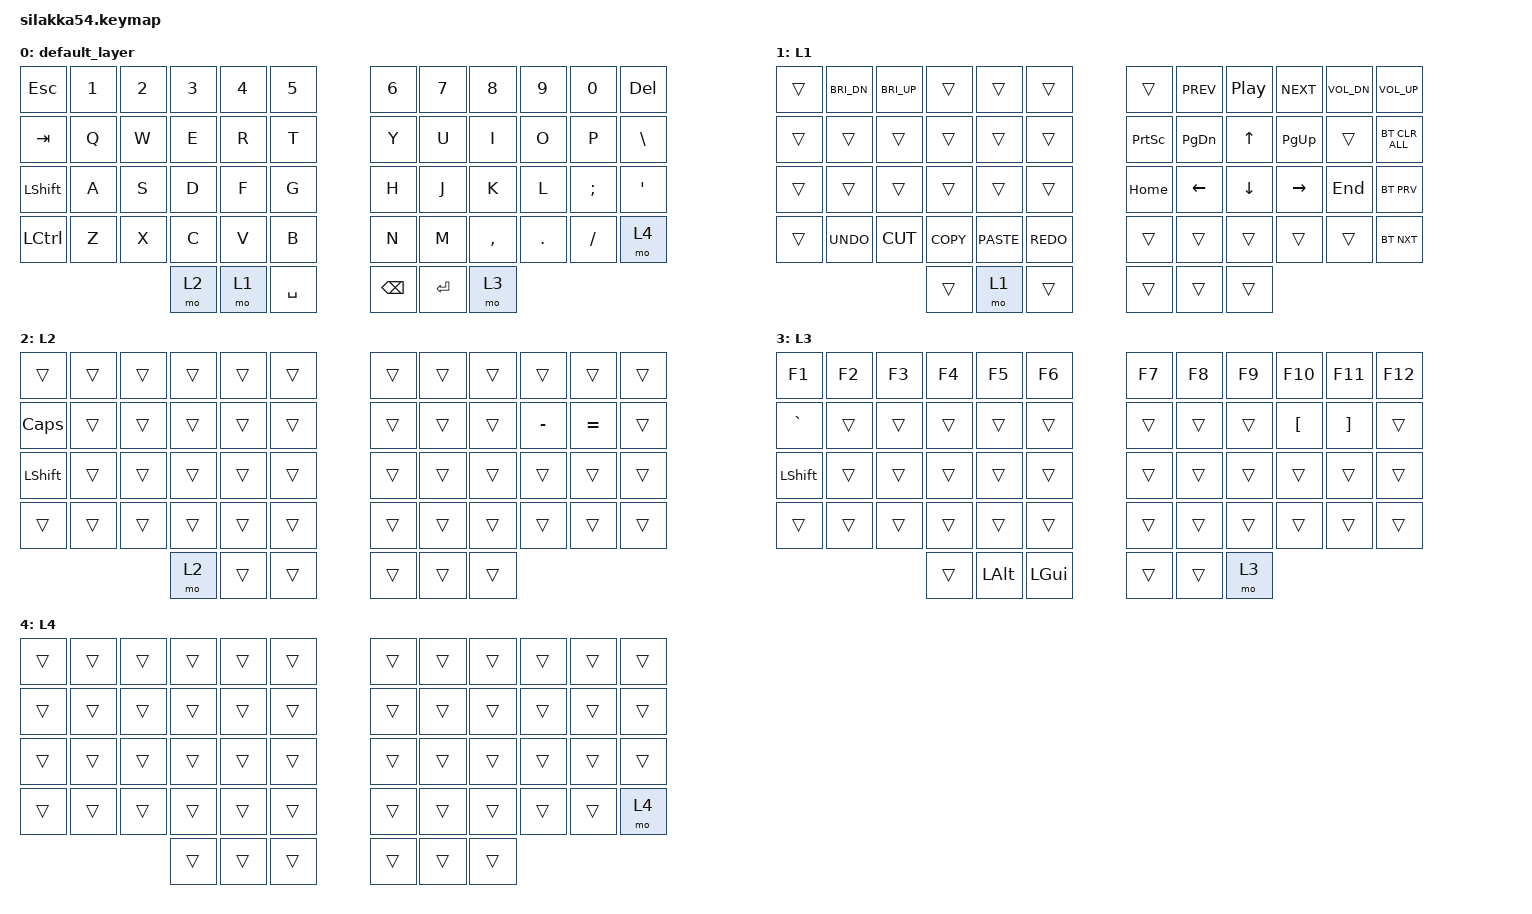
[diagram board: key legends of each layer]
#include <behaviors.dtsi>
#include <dt-bindings/zmk/keys.h>
#include <dt-bindings/zmk/bt.h>

/ {
    keymap {
        compatible = "zmk,keymap";

        default_layer {
            bindings = <
&kp ESC    &kp N1  &kp N2  &kp N3  &kp N4  &kp N5    &kp N6  &kp N7  &kp N8     &kp N9   &kp N0    &kp DEL
&kp TAB    &kp Q   &kp W   &kp E   &kp R   &kp T     &kp Y   &kp U   &kp I      &kp O    &kp P     &kp BSLH
&kp LSHFT  &kp A   &kp S   &kp D   &kp F   &kp G     &kp H   &kp J   &kp K      &kp L    &kp SEMI  &kp SQT
&kp LCTRL  &kp Z   &kp X   &kp C   &kp V   &kp B     &kp N   &kp M   &kp COMMA  &kp DOT  &kp FSLH  &mo 4
                            &mo 2   &mo 1   &kp SPC   &kp BSPC  &kp RET  &mo 3
            >;
        };

        L1 {
            bindings = <
&trans  &kp C_BRI_DN  &kp C_BRI_UP  &trans      &trans       &trans        &trans     &kp C_PREV  &kp C_PP   &kp C_NEXT  &kp C_VOL_DN  &kp C_VOL_UP
&trans  &trans        &trans        &trans      &trans       &trans        &kp PSCRN  &kp PG_DN   &kp UP     &kp PG_UP   &trans        &bt BT_CLR_ALL
&trans  &trans        &trans        &trans      &trans       &trans        &kp HOME   &kp LEFT    &kp DOWN   &kp RIGHT   &kp END       &bt BT_PRV
&trans  &kp K_UNDO    &kp K_CUT     &kp K_COPY  &kp K_PASTE  &kp K_REDO    &trans     &trans      &trans     &trans      &trans        &bt BT_NXT
                                    &trans      &mo 1        &trans        &trans     &trans      &trans
            >;
        };

        L2 {
            bindings = <
&trans   &trans  &trans  &trans  &trans  &trans    &trans  &trans  &trans  &trans     &trans     &trans
&kp CAPS &trans  &trans  &trans  &trans  &trans    &trans  &trans  &trans  &kp MINUS  &kp EQUAL  &trans
&kp LSHFT &trans &trans  &trans  &trans  &trans    &trans  &trans  &trans  &trans     &trans     &trans
&trans   &trans  &trans  &trans  &trans  &trans    &trans  &trans  &trans  &trans     &trans     &trans
                          &mo 2  &trans  &trans    &trans  &trans  &trans
            >;
        };

        L3 {
            bindings = <
&kp F1   &kp F2  &kp F3  &kp F4  &kp F5    &kp F6       &kp F7  &kp F8  &kp F9  &kp F10  &kp F11   &kp F12
&kp GRAVE &trans &trans  &trans  &trans    &trans       &trans  &trans  &trans  &kp LBKT &kp RBKT  &trans
&kp LSHFT &trans &trans  &trans  &trans    &trans       &trans  &trans  &trans  &trans   &trans    &trans
&trans   &trans  &trans  &trans  &trans    &trans       &trans  &trans  &trans  &trans   &trans    &trans
                          &trans  &kp LALT  &kp LGUI    &trans  &trans  &mo 3
            >;
        };

        L4 {
            bindings = <
&trans  &trans  &trans  &trans  &trans  &trans    &trans  &trans  &trans  &trans  &trans  &trans
&trans  &trans  &trans  &trans  &trans  &trans    &trans  &trans  &trans  &trans  &trans  &trans
&trans  &trans  &trans  &trans  &trans  &trans    &trans  &trans  &trans  &trans  &trans  &trans
&trans  &trans  &trans  &trans  &trans  &trans    &trans  &trans  &trans  &trans  &trans  &mo 4
                        &trans  &trans  &trans    &trans  &trans  &trans
            >;
        };
    };
};
